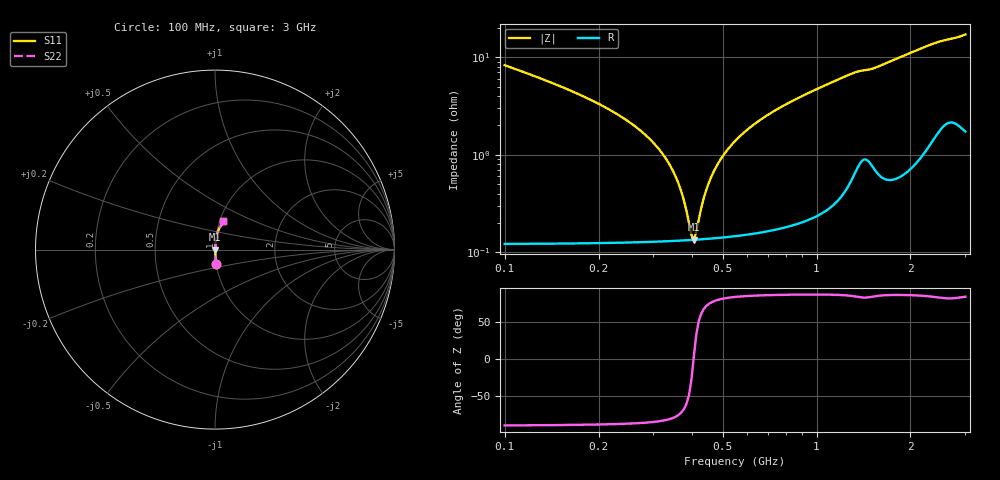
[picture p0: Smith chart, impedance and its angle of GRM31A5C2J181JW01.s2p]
!Murata Part Number: GRM31A5C2J181JW01
!These Parameters are Measured in Series Mode Connection
!Data Generated on Mar 30, 2021
!  o--ll--o
!Port1  Port2
!  o------o
!Operation Temp=25[degC], DC Bias Voltage=0[V]
!Freq. Start=100[MHz] Stop=3[GHz] 401[Steps]
# Hz S RI R 50
!Freq.(Hz) S11(Real) S11(Imag) S21(Real) S21(Imag) S12(Real) S12(Imag) S22(Real) S22(Imag)
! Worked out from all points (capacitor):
!   401 points, 100 MHz to 3 GHz, reference 50 ohm
!   read as one part in series: C = 180 pF near 114.5 MHz
!   lowest |Z| = 135 mohm at 404.5 MHz (marker M1)
!   series resonance near 403.4 MHz, so ESL is about 870 pH
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1e8  0.00803 -0.0822  0.992 0.0822  0.992 0.0822  0.00803 -0.0822
2.5225e8  0.00171 -0.0213  0.9983 0.0213  0.9983 0.0213  0.00171 -0.0213
3.1025e8  0.00142 -0.0116  0.9986 0.0116  0.9986 0.0116  0.00142 -0.0116
3.5375e8  0.00134 -0.00578  0.9987 0.00578  0.9987 0.00578  0.00134 -0.00578
3.6825e8  0.00133 -0.00401  0.9987 0.00401  0.9987 0.00401  0.00133 -0.00401
3.9e8  0.00133 -0.00149  0.9987 0.00149  0.9987 0.00149  0.00133 -0.00149
3.9725e8  0.00134 -0.000677  0.9987 0.000677  0.9987 0.000677  0.00134 -0.000677
4.045e8  0.00134 0.000118  0.9987 -0.000118  0.9987 -0.000118  0.00134 0.000118
4.1175e8  0.00135 0.000898  0.9987 -0.000898  0.9987 -0.000898  0.00135 0.000898
4.19e8  0.00135 0.00167  0.9986 -0.00167  0.9986 -0.00167  0.00135 0.00167
4.48e8  0.00139 0.00462  0.9986 -0.00462  0.9986 -0.00462  0.00139 0.00462
4.77e8  0.00145 0.00741  0.9986 -0.00741  0.9986 -0.00741  0.00145 0.00741
5.205e8  0.00156 0.0113  0.9984 -0.0113  0.9984 -0.0113  0.00156 0.0113
5.8575e8  0.00178 0.0168  0.9982 -0.0168  0.9982 -0.0168  0.00178 0.0168
6.655e8  0.00213 0.0231  0.9979 -0.0231  0.9979 -0.0231  0.00213 0.0231
7.7425e8  0.00273 0.0311  0.9973 -0.0311  0.9973 -0.0311  0.00273 0.0311
1.0715e9  0.00533 0.0516  0.9947 -0.0516  0.9947 -0.0516  0.00533 0.0516
1.318e9  0.0108 0.068  0.9892 -0.068  0.9892 -0.068  0.0108 0.068
1.55e9  0.0127 0.0769  0.9873 -0.0769  0.9873 -0.0769  0.0127 0.0769
2.03575e9  0.0199 0.1105  0.9801 -0.1105  0.9801 -0.1105  0.0199 0.1105
2.5215e9  0.0383 0.138  0.9617 -0.138  0.9617 -0.138  0.0383 0.138
3e9  0.0439 0.1605  0.9561 -0.1605  0.9561 -0.1605  0.0439 0.1605
